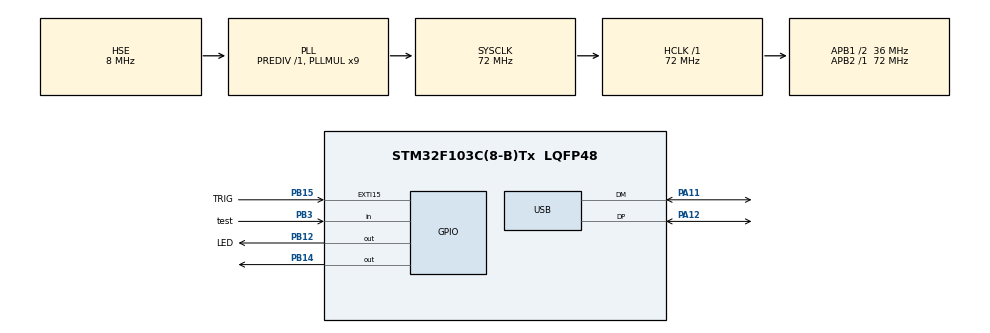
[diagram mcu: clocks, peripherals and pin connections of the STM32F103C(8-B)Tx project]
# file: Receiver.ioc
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Mcu.Family=STM32F1
Mcu.Name=STM32F103C(8-B)Tx
Mcu.Package=LQFP48
NVIC.EXTI15_10_IRQn=true\:0\:0\:false\:false\:true\:true\:true
NVIC.PriorityGroup=NVIC_PRIORITYGROUP_4
NVIC.TIM2_IRQn=true\:0\:0\:false\:false\:true\:true\:true
NVIC.USB_LP_CAN1_RX0_IRQn=true\:0\:0\:false\:false\:true\:false\:true
PA11.Mode=Device
PA11.Signal=USB_DM
PA12.Mode=Device
PA12.Signal=USB_DP
PA13.Mode=Serial_Wire
PA13.Signal=SYS_JTMS-SWDIO
PA14.Mode=Serial_Wire
PA14.Signal=SYS_JTCK-SWCLK
PB12.GPIO_Label=LED
PB12.Signal=GPIO_Output
PB14.GPIO_Speed=GPIO_SPEED_FREQ_LOW
PB14.PinState=GPIO_PIN_RESET
PB14.Signal=GPIO_Output
PB15.GPIO_Label=TRIG
PB15.GPIO_ModeDefaultEXTI=GPIO_MODE_IT_RISING
PB15.GPIO_PuPd=GPIO_NOPULL
PB15.Signal=GPXTI15
PB3.GPIO_Label=test
PB3.GPIO_PuPd=GPIO_NOPULL
PB3.Signal=GPIO_Input
PC14-OSC32_IN.Mode=LSE-External-Oscillator
PC14-OSC32_IN.Signal=RCC_OSC32_IN
PC15-OSC32_OUT.Mode=LSE-External-Oscillator
PC15-OSC32_OUT.Signal=RCC_OSC32_OUT
PD0-OSC_IN.Mode=HSE-External-Oscillator
PD0-OSC_IN.Signal=RCC_OSC_IN
PD1-OSC_OUT.Mode=HSE-External-Oscillator
PD1-OSC_OUT.Signal=RCC_OSC_OUT
ProjectManager.HeapSize=0x100
ProjectManager.StackSize=0x400
ProjectManager.TargetToolchain=STM32CubeIDE
RCC.ADCPresc=RCC_ADCPCLK2_DIV6
RCC.AHBFreq_Value=72000000
RCC.APB1CLKDivider=RCC_HCLK_DIV2
RCC.APB1Freq_Value=36000000
RCC.APB1TimFreq_Value=72000000
RCC.APB2Freq_Value=72000000
RCC.APB2TimFreq_Value=72000000
RCC.HCLKFreq_Value=72000000
RCC.PLLMUL=RCC_PLL_MUL9
RCC.PLLSourceVirtual=RCC_PLLSOURCE_HSE
RCC.SYSCLKFreq_VALUE=72000000
RCC.SYSCLKSource=RCC_SYSCLKSOURCE_PLLCLK
RCC.USBFreq_Value=48000000
RCC.USBPrescaler=RCC_USBCLKSOURCE_PLL_DIV1_5
TIM2.Period=50-1
TIM2.Prescaler=720-1
TIM2.TIM_MasterOutputTrigger=TIM_TRGO_RESET
TIM2.TIM_MasterSlaveMode=TIM_MASTERSLAVEMODE_DISABLE
USB_DEVICE.APP_RX_DATA_SIZE=2048
USB_DEVICE.APP_TX_DATA_SIZE=2048
USB_DEVICE.CLASS_NAME_FS=CDC
USB_DEVICE.USBD_MAX_NUM_INTERFACES=1
USB_DEVICE.VirtualMode=Cdc
USB_DEVICE.VirtualModeFS=Cdc_FS
VP_TIM2_VS_ClockSourceINT.Mode=Internal
VP_USB_DEVICE_VS_USB_DEVICE_CDC_FS.Mode=CDC_FS
board=custom

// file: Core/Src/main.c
/* USER CODE BEGIN Header */
/**
 ******************************************************************************
 * @file           : main.c
 * @brief          : Main program body
 ******************************************************************************
 * @attention
 *
 * <h2><center>&copy; Copyright (c) 2020 STMicroelectronics.
 * All rights reserved.</center></h2>
 *
 * This software component is licensed by ST under BSD 3-Clause license,
 * the "License"; You may not use this file except in compliance with the
 * License. You may obtain a copy of the License at:
 *                        opensource.org/licenses/BSD-3-Clause
 *
 ******************************************************************************
 */
/* USER CODE END Header */
#include "main.h"
#include "usb_device.h"

TIM_HandleTypeDef htim2;

/* USER CODE BEGIN PV */

int g_TIMCALLBACK;//[8];

int i = 0;
int k = 0;
char Msg[200] = "hello hello hello hello hello hello hello hello hello hello hello hello hello hello hello \r\n";
char binaryString[8] = "";
char endString[] = "00000000";
int bytes = 0;
int wait = 0;
char c;
int pulse_delay = 7;

/* USER CODE END PV */

void SystemClock_Config(void);
static void MX_GPIO_Init(void);
static void MX_TIM2_Init(void);

int main(void)
{

	/* MCU Configuration--------------------------------------------------------*/

	/* Reset of all peripherals, Initializes the Flash interface and the Systick. */
	HAL_Init();

	/* Configure the system clock */
	SystemClock_Config();

	/* Initialize all configured peripherals */
	MX_GPIO_Init();
	MX_USB_DEVICE_Init();
	MX_TIM2_Init();
	/* USER CODE BEGIN 2 */

	HAL_GPIO_WritePin(LED_GPIO_Port, LED_Pin, GPIO_PIN_SET);

	/* USER CODE END 2 */

	/* Infinite loop */
	while (1)
	{

	}
}

void SystemClock_Config(void)
{
	RCC_OscInitTypeDef RCC_OscInitStruct = {0};
	RCC_ClkInitTypeDef RCC_ClkInitStruct = {0};
	RCC_PeriphCLKInitTypeDef PeriphClkInit = {0};

	/** Initializes the RCC Oscillators according to the specified parameters
	 * in the RCC_OscInitTypeDef structure.
	 */
	RCC_OscInitStruct.OscillatorType = RCC_OSCILLATORTYPE_HSE;
	RCC_OscInitStruct.HSEState = RCC_HSE_ON;
	RCC_OscInitStruct.HSEPredivValue = RCC_HSE_PREDIV_DIV1;
	RCC_OscInitStruct.HSIState = RCC_HSI_ON;
	RCC_OscInitStruct.PLL.PLLState = RCC_PLL_ON;
	RCC_OscInitStruct.PLL.PLLSource = RCC_PLLSOURCE_HSE;
	RCC_OscInitStruct.PLL.PLLMUL = RCC_PLL_MUL9;
	if (HAL_RCC_OscConfig(&RCC_OscInitStruct) != HAL_OK)
	{
		Error_Handler();
	}
	/** Initializes the CPU, AHB and APB buses clocks
	 */
	RCC_ClkInitStruct.ClockType = RCC_CLOCKTYPE_HCLK|RCC_CLOCKTYPE_SYSCLK
			|RCC_CLOCKTYPE_PCLK1|RCC_CLOCKTYPE_PCLK2;
	RCC_ClkInitStruct.SYSCLKSource = RCC_SYSCLKSOURCE_PLLCLK;
	RCC_ClkInitStruct.AHBCLKDivider = RCC_SYSCLK_DIV1;
	RCC_ClkInitStruct.APB1CLKDivider = RCC_HCLK_DIV2;
	RCC_ClkInitStruct.APB2CLKDivider = RCC_HCLK_DIV1;

	if (HAL_RCC_ClockConfig(&RCC_ClkInitStruct, FLASH_LATENCY_2) != HAL_OK)
	{
		Error_Handler();
	}
	PeriphClkInit.PeriphClockSelection = RCC_PERIPHCLK_USB;
	PeriphClkInit.UsbClockSelection = RCC_USBCLKSOURCE_PLL_DIV1_5;
	if (HAL_RCCEx_PeriphCLKConfig(&PeriphClkInit) != HAL_OK)
	{
		Error_Handler();
	}
}

static void MX_TIM2_Init(void)
{

	TIM_ClockConfigTypeDef sClockSourceConfig = {0};
	TIM_MasterConfigTypeDef sMasterConfig = {0};

	htim2.Instance = TIM2;
	htim2.Init.Prescaler = 720-1;
	htim2.Init.CounterMode = TIM_COUNTERMODE_UP;
	htim2.Init.Period = 50-1;
	htim2.Init.ClockDivision = TIM_CLOCKDIVISION_DIV1;
	htim2.Init.AutoReloadPreload = TIM_AUTORELOAD_PRELOAD_DISABLE;
	if (HAL_TIM_Base_Init(&htim2) != HAL_OK)
	{
		Error_Handler();
	}
	sClockSourceConfig.ClockSource = TIM_CLOCKSOURCE_INTERNAL;
	if (HAL_TIM_ConfigClockSource(&htim2, &sClockSourceConfig) != HAL_OK)
	{
		Error_Handler();
	}
	sMasterConfig.MasterOutputTrigger = TIM_TRGO_RESET;
	sMasterConfig.MasterSlaveMode = TIM_MASTERSLAVEMODE_DISABLE;
	if (HAL_TIMEx_MasterConfigSynchronization(&htim2, &sMasterConfig) != HAL_OK)
	{
		Error_Handler();
	}

}

static void MX_GPIO_Init(void)
{
	GPIO_InitTypeDef GPIO_InitStruct = {0};

	/* GPIO Ports Clock Enable */
	__HAL_RCC_GPIOC_CLK_ENABLE();
	__HAL_RCC_GPIOD_CLK_ENABLE();
	__HAL_RCC_GPIOB_CLK_ENABLE();
	__HAL_RCC_GPIOA_CLK_ENABLE();

	/*Configure GPIO pin Output Level */
	HAL_GPIO_WritePin(GPIOB, LED_Pin|GPIO_PIN_14, GPIO_PIN_RESET);

	/*Configure GPIO pins : LED_Pin PB14 */
	GPIO_InitStruct.Pin = LED_Pin|GPIO_PIN_14;
	GPIO_InitStruct.Mode = GPIO_MODE_OUTPUT_PP;
	GPIO_InitStruct.Pull = GPIO_NOPULL;
	GPIO_InitStruct.Speed = GPIO_SPEED_FREQ_LOW;
	HAL_GPIO_Init(GPIOB, &GPIO_InitStruct);

	/*Configure GPIO pin : TRIG_Pin */
	GPIO_InitStruct.Pin = TRIG_Pin;
	GPIO_InitStruct.Mode = GPIO_MODE_IT_RISING;
	GPIO_InitStruct.Pull = GPIO_NOPULL;
	HAL_GPIO_Init(TRIG_GPIO_Port, &GPIO_InitStruct);

	/*Configure GPIO pin : test_Pin */
	GPIO_InitStruct.Pin = test_Pin;
	GPIO_InitStruct.Mode = GPIO_MODE_INPUT;
	GPIO_InitStruct.Pull = GPIO_NOPULL;
	HAL_GPIO_Init(test_GPIO_Port, &GPIO_InitStruct);

	/* EXTI interrupt init*/
	HAL_NVIC_SetPriority(EXTI15_10_IRQn, 0, 0);
	HAL_NVIC_EnableIRQ(EXTI15_10_IRQn);

}

/* USER CODE BEGIN 4 */

void HAL_GPIO_EXTI_Callback(uint16_t GPIO_Pin) // trigger once when the first rising edge of the first bit of the start flag is detected
{
	if(GPIO_Pin == TRIG_Pin) // check that it has been called on the right pin
	{
		HAL_TIM_Base_Start_IT(&htim2); // start the timer
		HAL_NVIC_DisableIRQ(EXTI15_10_IRQn); // disable this trigger
		HAL_GPIO_WritePin(LED_GPIO_Port, LED_Pin, GPIO_PIN_RESET); // turn on the blue on board LED to signal that data is now being sampled
	}
}

// Callback: timer has rolled over
void HAL_TIM_PeriodElapsedCallback(TIM_HandleTypeDef *htim)
{
	if ( htim == &htim2 ) // triggers every 0.5ms
	{
		if( k == 0 )
		{
			sprintf(Msg, "Incoming Transmission:\r\n"); // visual to tell user that the program has started recording data
			CDC_Transmit_FS(Msg, strlen(Msg)); // prints to putty
			k = 1;
		}

		if( wait < pulse_delay ) // initially 7 then 1 then 9 then 1 then 9....
		{
			wait++;
			//HAL_GPIO_WritePin(GPIOB, GPIO_PIN_14, GPIO_PIN_RESET); // uncomment to visually see when timer is sampling

		} else { // record data

			//HAL_GPIO_WritePin(GPIOB, GPIO_PIN_14, GPIO_PIN_SET); // uncomment to visually see when timer is sampling

			// check if the input voltage is above approximately 1.2V to record a HIGH (1), or less than that to record a LOW (0)
			g_TIMCALLBACK = HAL_GPIO_ReadPin(test_GPIO_Port, test_Pin);

			binaryString[i] = g_TIMCALLBACK +'0'; // simple trick to convert an int to a char

			i++;

			// reset pulse delay and set delay to 1 cycle to sample in the exact middle of each incoming pulse
			wait = 0;
			pulse_delay = 1;

			if(i == 8)
			{
				// uncomment to end the transmission after 8 zeros are detected in a line (endString = '00000000')
				//if(strcmp(binaryString, endString) == 0)
				//{
				//	sprintf(Msg, "\r\nTransmission Ended.\r\n");
				//	CDC_Transmit_FS(Msg, strlen(Msg));
				//HAL_TIM_Base_Stop_IT(&htim2);
				//}
				//else
				//{
				c = strtol(binaryString, 0, 2); // method to convert the first 8 positions in the integer binarystring array to a character
				if(bytes == 11) // used to print the next entire transmission to a new line
				{
					sprintf(Msg, "%c\r\n", c);
					CDC_Transmit_FS(Msg, strlen(Msg));
					bytes = 0;
				}
				else
				{
					sprintf(Msg, "%c", c); // prints one character at a time
					CDC_Transmit_FS(Msg, strlen(Msg));
					bytes++;
				}

				i = 0;

				wait = 0; // reset pulse delay and set delay to 9 cycles to incorporate both the start and end flags
				pulse_delay = 9;
				//}
			}
		}
	}
}

/* USER CODE END 4 */

void Error_Handler(void)
{
}

/************************ (C) COPYRIGHT STMicroelectronics *****END OF FILE****/
